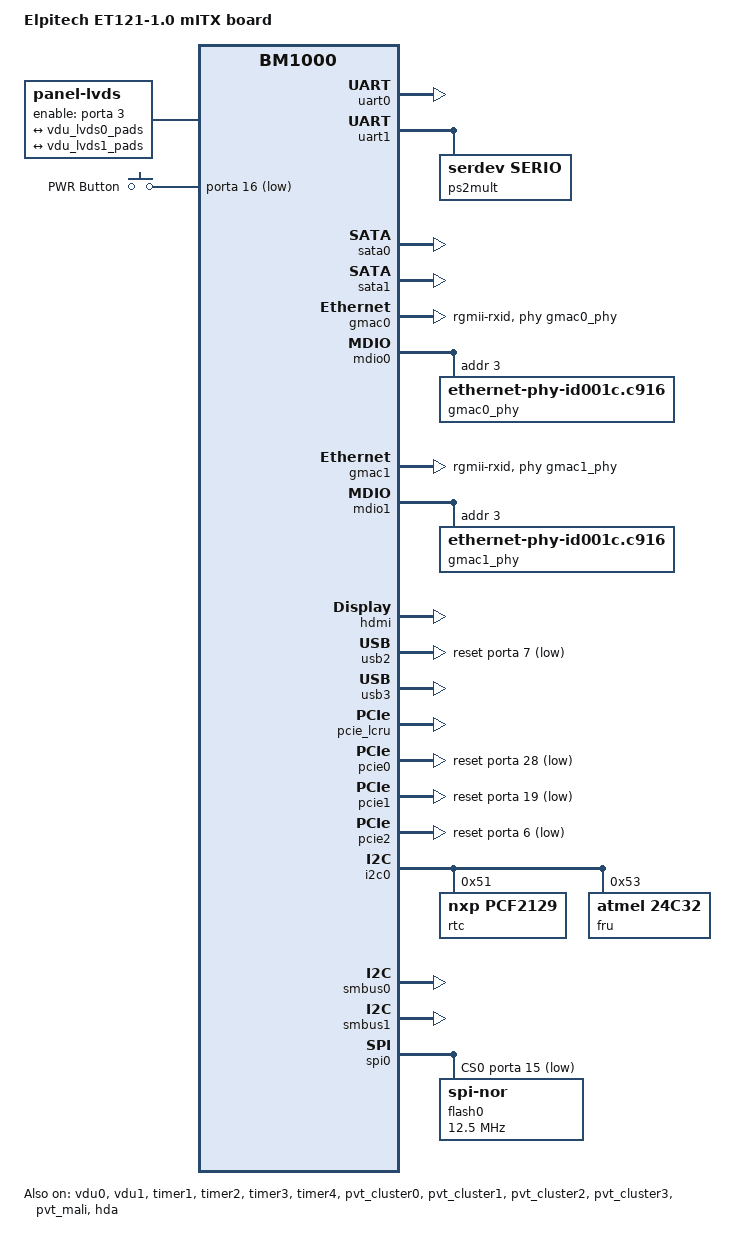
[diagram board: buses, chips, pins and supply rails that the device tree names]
// SPDX-License-Identifier: GPL-2.0
/*
 * Baikal-M ET121 device tree
 */

/dts-v1/;

#include "bm1000.dtsi"
#include <dt-bindings/net/realtek-phy-rtl8211f.h>
#include <dt-bindings/input/gpio-keys.h>
#include <dt-bindings/input/linux-event-codes.h>

/ {

	compatible = "baikal,baikal-m";
	#address-cells = <2>;
	#size-cells = <2>;

	model = "Elpitech ET121-1.0 mITX board";

	aliases {
		ethernet0 = &gmac0;
		ethernet1 = &gmac1;
		fru = &fru;
		m2-pcie = &pcie0;
	};

	chosen { };

	panel {
		compatible = "panel-lvds";
		width-mm = <223>;
		height-mm = <125>;
		data-mapping = "vesa-24";
		enable-gpios = <&porta 3 GPIO_ACTIVE_HIGH>;
		panel-timing {
		// 1920x1080 @60Hz
			clock-frequency = <148500000>;
			hactive = <1920>;
			vactive = <1080>;
			hsync-len = <44>;
			hfront-porch = <88>;
			hback-porch = <148>;
			vsync-len = <5>;
			vfront-porch = <4>;
			vback-porch = <36>;
		};
		port {
			#address-cells = <1>;
			#size-cells = <0>;
			panel0_lvds0: endpoint@0 {
				reg = <0>;
				remote-endpoint = <&vdu_lvds0_pads>;
			};
			panel0_lvds1: endpoint@1 {
				reg = <1>;
				remote-endpoint = <&vdu_lvds1_pads>;
			};
		};
	};

	gpio-keys {
		compatible = "gpio-keys";
		pwr {
			label = "PWR Button";
			linux,code = <116>;
			gpios = <&porta 16 GPIO_ACTIVE_LOW>;
			wakeup-source;
			wakeup-event-action = <EV_ACT_DEASSERTED>;
		};
	};
};

&vdu0 {
	status = "okay";
	num-lanes = <2>;
	lvds-lanes = <2>;
	port {
		#address-cells = <1>;
		#size-cells = <0>;
		vdu_lvds0_pads: endpoint@0 {
			reg = <0>;
			remote-endpoint = <&panel0_lvds0>;
		};
		vdu_lvds1_pads: endpoint@1 {
			reg = <1>;
			remote-endpoint = <&panel0_lvds1>;
		};
	};
};

&uart0 {
	status = "okay";
};

&uart1 {
	status = "okay";

	ps2mult {
		compatible = "serdev,serio";
		current-speed = <115200>;
		protocol = <0x3c>; /* SERIO_PS2MULT */
	};
};

&sata0 {
	status = "okay";
};

&sata1 {
	status = "okay";
};

&gmac0 {
	status = "okay";
	snps,reset-gpios = <&porta 8 GPIO_ACTIVE_LOW>;
	snps,reset-delays-us = <10>, <10000>, <50000>;
	clk_csr = <0x3>;
	phy-mode = "rgmii-rxid";
	phy-handle = <&gmac0_phy>;
};

&mdio0 {
	gmac0_phy: ethernet-phy@3 {
		compatible = "ethernet-phy-id001c.c916", "ethernet-phy-ieee802.3-c22";
		reg = <0x3>;
		realtek,led-mode = <RTL8211F_LED_MODE_B>;
		realtek,led0-control = <RTL8211F_LINK10_1000_ACT>;
		realtek,led1-control = <RTL8211F_LINK100_1000>;
	};
};

&gmac1 {
	status = "okay";
	snps,reset-gpios = <&porta 9 GPIO_ACTIVE_LOW>;
	snps,reset-delays-us = <10>, <10000>, <50000>;
	clk_csr = <0x3>;
	phy-mode = "rgmii-rxid";
	phy-handle = <&gmac1_phy>;
};

&mdio1 {
	gmac1_phy: ethernet-phy@3 {
		compatible = "ethernet-phy-id001c.c916", "ethernet-phy-ieee802.3-c22";
		reg = <0x3>;
		realtek,led-mode = <RTL8211F_LED_MODE_B>;
		realtek,led0-control = <RTL8211F_LINK10_1000_ACT>;
		realtek,led1-control = <RTL8211F_LINK100_1000>;
	};
};

&hdmi {
	status = "okay";
};

&vdu1 {
	status = "okay";
};

&gpio32 {
	status = "okay";
};

&usb2 {
	status = "okay";
	reset-gpios = <&porta 7 GPIO_ACTIVE_LOW>;
};

&usb3 {
	status = "okay";
};

&pcie_lcru {
	status = "okay";
};

&pcie0 {
	status = "okay";
	reset-gpios = <&porta 28 GPIO_ACTIVE_LOW>;
};

&pcie1 {
	status = "okay";
	reset-gpios = <&porta 19 GPIO_ACTIVE_LOW>;
};

&pcie2 {
	status = "okay";
	reset-gpios = <&porta 6 GPIO_ACTIVE_LOW>;
};

&timer1 {
	status = "okay";
};

&timer2 {
	status = "okay";
};

&timer3 {
	status = "okay";
};

&timer4 {
	status = "okay";
};

&pvt_cluster0 {
	status = "okay";
};

&pvt_cluster1 {
	status = "okay";
};

&pvt_cluster2 {
	status = "okay";
};

&pvt_cluster3 {
	status = "okay";
};

&pvt_mali {
	status = "okay";
};

&i2c0 {
	status = "okay";

	rtc@51 {
		compatible = "nxp,pcf2129", "nxp,pcf2127";
		reg = <0x51>;
	};

	fru: eeprom@53 {
		compatible = "atmel,24c32";
		pagesize = <32>;
		reg = <0x53>;
	};
};

&smbus0 {
	status = "okay";
};

&smbus1 {
	status = "okay";
};

&spi0 {
	num-cs = <4>;

	cs-gpios = <&porta 15 GPIO_ACTIVE_LOW>, <0>;
	status = "okay";
	flash0: flash@0 {
		compatible = "jedec,spi-nor";
		reg = <0>;
		#address-cells = <1>;
		#size-cells = <1>;
		spi-max-frequency = <12500000>;
		status = "okay";

		/* Flash chip0 partitions */
		mtd0@0 {
			label = "bl1";
			reg = <0x00000000 0x00040000>;
			read-only;
		};

		mtd1@40000 {
			label = "fip";
			reg = <0x00040000 0x007c0000>;
		};

		mtd2@800000 {
			label = "rescue";
			reg = <0x00800000 0x01800000>;
		};
	};
};

&hda {
	status = "okay";
	patch-data = "[codec]\n\
0x111d76d5 0x00000100 0\n\
[model]\n\
et121\n\
[pincfg]\n\
0x0a 0x02a1001f\n\
0x0b 0x02210010\n\
0x0c 0x01a19020\n\
0x0e 0x01014021\n\
0x0f 0x01813040\n\
0x11 0x70a3014e\n\
0x1f 0x70451160\n";
};
